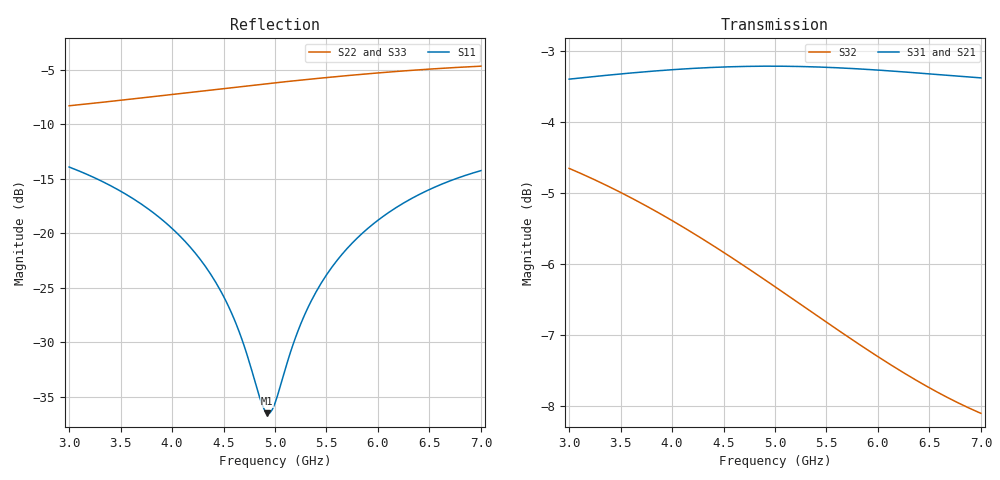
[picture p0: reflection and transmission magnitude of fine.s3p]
! yapnr rf: divider-osh-m-star-fwd, footprint re-simulated (refine 2)
! spec sha256 6ebc0f7f06cb0ed0a2ade3a83320aeec5a79c13a408e34964cd1a333cf0d2266
! 3 ports renormalized to 50 ohm, e^(+jwt) convention
# GHz S RI R 50
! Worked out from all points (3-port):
!   161 points, 3 GHz to 7 GHz, reference 50 ohm
!   strongest paths, dB at 3 GHz, 4 GHz, 5 GHz, 6 GHz, 7 GHz:
!     S31: -3.4, -3.3, -3.2, -3.3, -3.4
!     S21: -3.4, -3.3, -3.2, -3.3, -3.4
!     S32: -4.7, -5.4, -6.3, -7.3, -8.1
!   lowest |S11| = -36.5 dB at 4.925 GHz (marker M1), VSWR 1.03, Z = 48.6 + j0.34 ohm
!   |S11| at or under -10 dB: start of sweep to end of sweep
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3  -0.1215 0.1608  0.1054 -0.6681  0.1054 -0.6681
   0.1053 -0.6681  0.0919 0.3738  -0.1491 -0.566
   0.1053 -0.6681  -0.1491 -0.566  0.0919 0.3738
3.7  -0.0566 0.1241  -0.1267 -0.6724  -0.1267 -0.6724
     -0.1267 -0.6723  0.2538 0.3322  -0.3436 -0.4336
     -0.1267 -0.6723  -0.3436 -0.4336  0.2538 0.3322
4.225  -0.0242 0.0776  -0.2973 -0.6209  -0.2973 -0.6209
       -0.2973 -0.6209  0.3642 0.2579  -0.4341 -0.297
       -0.2973 -0.6209  -0.4341 -0.297  0.3642 0.2579
4.575  -0.0141 0.0411  -0.4017 -0.5612  -0.4017 -0.5612
       -0.4017 -0.5611  0.4259 0.1894  -0.4658 -0.1997
       -0.4017 -0.5611  -0.4658 -0.1997  0.4259 0.1894
4.925  -0.0145 0.0035  -0.4938 -0.4831  -0.4938 -0.4831
       -0.4937 -0.4831  0.4741 0.1079  -0.4761 -0.1041
       -0.4937 -0.4831  -0.4761 -0.1041  0.4741 0.1079
5  -0.016 -0.00439  -0.5115 -0.4643  -0.5115 -0.4643
   -0.5115 -0.4642  0.4824 0.089  -0.4758 -0.0843
   -0.5115 -0.4642  -0.4758 -0.0843  0.4824 0.089
5.3  -0.0269 -0.0342  -0.5747 -0.3823  -0.5747 -0.3823
     -0.5747 -0.3823  0.5075 0.0097  -0.4668 -0.00857
     -0.5747 -0.3823  -0.4668 -0.00857  0.5075 0.0097
5.675  -0.0503 -0.0655  -0.6342 -0.2682  -0.6342 -0.2682
       -0.6342 -0.2682  0.5194 -0.0951  -0.4407 0.0763
       -0.6342 -0.2682  -0.4407 0.0763  0.5194 -0.0951
6.25  -0.1016 -0.0932  -0.6799 -0.079  -0.6799 -0.079
      -0.6798 -0.0789  0.4938 -0.2562  -0.3789 0.1821
      -0.6798 -0.0789  -0.3789 0.1821  0.4938 -0.2562
7  -0.1753 -0.0831  -0.6568 0.1678  -0.6568 0.1678
   -0.6566 0.1679  0.3871 -0.4385  -0.2783 0.2784
   -0.6566 0.1679  -0.2783 0.2784  0.3871 -0.4385
